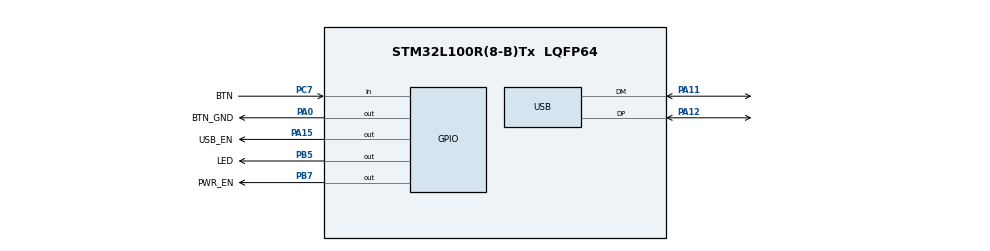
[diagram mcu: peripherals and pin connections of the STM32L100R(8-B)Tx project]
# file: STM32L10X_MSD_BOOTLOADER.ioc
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Mcu.Family=STM32L1
Mcu.Name=STM32L100R(8-B)Tx
Mcu.Package=LQFP64
NVIC.PriorityGroup=NVIC_PRIORITYGROUP_4
NVIC.USB_LP_IRQn=true\:3\:0\:true\:false\:true\:false\:true
PA0-WKUP1.GPIO_Label=BTN_GND
PA0-WKUP1.Signal=GPIO_Output
PA11.Mode=Device
PA11.Signal=USB_DM
PA12.Mode=Device
PA12.Signal=USB_DP
PA13.GPIO_Label=SWDIO
PA13.Mode=Serial_Wire
PA13.Signal=SYS_JTMS-SWDIO
PA14.GPIO_Label=SWCLK
PA14.Mode=Serial_Wire
PA14.Signal=SYS_JTCK-SWCLK
PA15.GPIO_Label=USB_EN
PA15.Signal=GPIO_Output
PB5.GPIO_Label=LED
PB5.Signal=GPIO_Output
PB7.GPIO_Label=PWR_EN
PB7.PinState=GPIO_PIN_SET
PB7.Signal=GPIO_Output
PC7.GPIO_Label=BTN
PC7.GPIO_PuPd=GPIO_PULLUP
PC7.Signal=GPIO_Input
PH0-OSC_IN.Mode=HSE-External-Oscillator
PH0-OSC_IN.Signal=RCC_OSC_IN
PH1-OSC_OUT.Mode=HSE-External-Oscillator
PH1-OSC_OUT.Signal=RCC_OSC_OUT
ProjectManager.HeapSize=0x200
ProjectManager.StackSize=0x400
ProjectManager.TargetToolchain=MDK-ARM V5
RCC.48MHZClocksFreq_Value=48000000
RCC.AHBFreq_Value=16000000
RCC.APB1Freq_Value=16000000
RCC.APB1TimFreq_Value=16000000
RCC.APB2Freq_Value=16000000
RCC.APB2TimFreq_Value=16000000
RCC.HCLKFreq_Value=16000000
RCC.HSE_VALUE=8000000
RCC.HSI_VALUE=16000000
RCC.LSE_VALUE=32768
RCC.MSI_VALUE=2097000
RCC.PLLMUL=RCC_PLL_MUL12
RCC.PREFETCH_ENABLE=1
RCC.SYSCLKFreq_VALUE=16000000
RCC.SYSCLKSource=RCC_SYSCLKSOURCE_HSI
RCC.VCOOutputFreq_Value=96000000
USB_DEVICE.CLASS_NAME_FS=MSC
USB_DEVICE.MSC_MEDIA_PACKET=512
USB_DEVICE.VirtualMode=Msc
USB_DEVICE.VirtualModeFS=Msc_FS
VP_USB_DEVICE_VS_USB_DEVICE_MSC_FS.Mode=MSC_FS
board=custom

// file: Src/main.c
/* USER CODE BEGIN Header */
/**
  ******************************************************************************
  * @file           : main.c
  * @brief          : Main program body
  ******************************************************************************
  * @attention
  *
  * <h2><center>&copy; Copyright (c) 2020 STMicroelectronics.
  * All rights reserved.</center></h2>
  *
  * This software component is licensed by ST under Ultimate Liberty license
  * SLA0044, the "License"; You may not use this file except in compliance with
  * the License. You may obtain a copy of the License at:
  *                             www.st.com/SLA0044
  *
  ******************************************************************************
  */
/* USER CODE END Header */

#include "main.h"
#include "usb_device.h"

/* USER CODE BEGIN Includes */
#include <stdint.h>					//lingex
#include <stdbool.h>
#include "btldr_config.h"
#include "fat32.h"
/* USER CODE END Includes */

/* USER CODE BEGIN PD */
typedef void (*pFunction)(void);
/* USER CODE END PD */

void SystemClock_Config(void);
static void MX_GPIO_Init(void);

/* USER CODE BEGIN 0 */
bool IsAppExist(void);
bool IsKeyPressed(void);

void RunApp(void);
void Delay(uint16_t n);

/* USER CODE END 0 */

int main(void)
{
  /* USER CODE BEGIN 1 */
	//RunApp();	//for debug
	volatile uint32_t timer;
  /* USER CODE END 1 */

  /* MCU Configuration--------------------------------------------------------*/

  /* Reset of all peripherals, Initializes the Flash interface and the Systick. */
  HAL_Init();

  /* USER CODE BEGIN Init */
  while(!fat32_init())
	{
		//flash addr error
	}
  /* USER CODE END Init */

  /* Configure the system clock */
  SystemClock_Config();

  /* USER CODE BEGIN SysInit */
	MX_GPIO_Init();
	if(!IsAppExist() || IsKeyPressed())
  {
		uint8_t keyState = 0;
		uint8_t count = 0;
		//upgrade mode
    MX_USB_DEVICE_Init();
#if 1
    while(1)
    {
			//long press key for 2S to exit upgrade
			//begin of long press check
			if (!IsKeyPressed() && keyState == 0)
			{
				keyState = 1;
			}
			if (IsKeyPressed() && keyState == 1)
			{
				count++;
				if(count == 10)
				{
					//keep LED lighting
					//HAL_GPIO_WritePin(LED_GPIO_Port, LED_Pin, GPIO_PIN_SET);
					LL_GPIO_SetOutputPin(LED_GPIO_Port, LED_Pin);
					//LL_GPIO_SetOutputPin(USB_EN_GPIO_Port, USB_EN_Pin);
					while(IsKeyPressed())
					{
					}
					//HAL_Delay(20);
					Delay(20);
					RunApp();

					//soft reset
					//SCB->VTOR = (FLASH_BASE | 0x0000);
					//NVIC_SystemReset();
				}
			}
			else
			{
				count = 0;
			}
			//end of long press check

			//blinking the LED
			LL_GPIO_TogglePin(LED_GPIO_Port, LED_Pin);
			//HAL_Delay(200);
			Delay(200);
    }
#endif
  }
  else
  {
    RunApp();
  }

  /* USER CODE END SysInit */

  /* Initialize all configured peripherals */
  MX_GPIO_Init();
  MX_USB_DEVICE_Init();

  /* Infinite loop */
  while (1)
  {

  }
}

void SystemClock_Config(void)
{

  LL_FLASH_Enable64bitAccess();

  LL_FLASH_SetLatency(LL_FLASH_LATENCY_0);

  if(LL_FLASH_GetLatency() != LL_FLASH_LATENCY_0)
  {
  Error_Handler();
  }
  LL_PWR_SetRegulVoltageScaling(LL_PWR_REGU_VOLTAGE_SCALE1);
  LL_RCC_HSE_Enable();

   /* Wait till HSE is ready */
  while(LL_RCC_HSE_IsReady() != 1)
  {

  }
  LL_RCC_HSI_Enable();

   /* Wait till HSI is ready */
  while(LL_RCC_HSI_IsReady() != 1)
  {

  }
  LL_RCC_HSI_SetCalibTrimming(16);
  LL_RCC_PLL_ConfigDomain_SYS(LL_RCC_PLLSOURCE_HSE, LL_RCC_PLL_MUL_12, LL_RCC_PLL_DIV_2);
  LL_RCC_PLL_Enable();

   /* Wait till PLL is ready */
  while(LL_RCC_PLL_IsReady() != 1)
  {

  }
  LL_RCC_SetAHBPrescaler(LL_RCC_SYSCLK_DIV_1);
  LL_RCC_SetAPB1Prescaler(LL_RCC_APB1_DIV_1);
  LL_RCC_SetAPB2Prescaler(LL_RCC_APB2_DIV_1);
  LL_RCC_SetSysClkSource(LL_RCC_SYS_CLKSOURCE_HSI);

   /* Wait till System clock is ready */
  while(LL_RCC_GetSysClkSource() != LL_RCC_SYS_CLKSOURCE_STATUS_HSI)
  {

  }
  LL_SetSystemCoreClock(16000000);
}

static void MX_GPIO_Init(void)
{
  LL_GPIO_InitTypeDef GPIO_InitStruct = {0};

  /* GPIO Ports Clock Enable */
  LL_AHB1_GRP1_EnableClock(LL_AHB1_GRP1_PERIPH_GPIOH);
  LL_AHB1_GRP1_EnableClock(LL_AHB1_GRP1_PERIPH_GPIOA);
  LL_AHB1_GRP1_EnableClock(LL_AHB1_GRP1_PERIPH_GPIOC);
  LL_AHB1_GRP1_EnableClock(LL_AHB1_GRP1_PERIPH_GPIOB);

  /**/
  LL_GPIO_ResetOutputPin(GPIOA, BTN_GND_Pin|USB_EN_Pin);

  /**/
  LL_GPIO_ResetOutputPin(LED_GPIO_Port, LED_Pin);

  /**/
  LL_GPIO_SetOutputPin(PWR_EN_GPIO_Port, PWR_EN_Pin);

  /**/
  GPIO_InitStruct.Pin = BTN_GND_Pin;
  GPIO_InitStruct.Mode = LL_GPIO_MODE_OUTPUT;
  GPIO_InitStruct.Speed = LL_GPIO_SPEED_FREQ_LOW;
  GPIO_InitStruct.OutputType = LL_GPIO_OUTPUT_PUSHPULL;
  GPIO_InitStruct.Pull = LL_GPIO_PULL_NO;
  LL_GPIO_Init(BTN_GND_GPIO_Port, &GPIO_InitStruct);

  /**/
  GPIO_InitStruct.Pin = BTN_Pin;
  GPIO_InitStruct.Mode = LL_GPIO_MODE_INPUT;
  GPIO_InitStruct.Pull = LL_GPIO_PULL_UP;
  LL_GPIO_Init(BTN_GPIO_Port, &GPIO_InitStruct);

  /**/
  GPIO_InitStruct.Pin = USB_EN_Pin;
  GPIO_InitStruct.Mode = LL_GPIO_MODE_OUTPUT;
  GPIO_InitStruct.Speed = LL_GPIO_SPEED_FREQ_LOW;
  GPIO_InitStruct.OutputType = LL_GPIO_OUTPUT_PUSHPULL;
  GPIO_InitStruct.Pull = LL_GPIO_PULL_NO;
  LL_GPIO_Init(USB_EN_GPIO_Port, &GPIO_InitStruct);

  /**/
  GPIO_InitStruct.Pin = LED_Pin;
  GPIO_InitStruct.Mode = LL_GPIO_MODE_OUTPUT;
  GPIO_InitStruct.Speed = LL_GPIO_SPEED_FREQ_LOW;
  GPIO_InitStruct.OutputType = LL_GPIO_OUTPUT_PUSHPULL;
  GPIO_InitStruct.Pull = LL_GPIO_PULL_NO;
  LL_GPIO_Init(LED_GPIO_Port, &GPIO_InitStruct);

  /**/
  GPIO_InitStruct.Pin = PWR_EN_Pin;
  GPIO_InitStruct.Mode = LL_GPIO_MODE_OUTPUT;
  GPIO_InitStruct.Speed = LL_GPIO_SPEED_FREQ_LOW;
  GPIO_InitStruct.OutputType = LL_GPIO_OUTPUT_PUSHPULL;
  GPIO_InitStruct.Pull = LL_GPIO_PULL_NO;
  LL_GPIO_Init(PWR_EN_GPIO_Port, &GPIO_InitStruct);

}

/* USER CODE BEGIN 4 */
bool IsAppExist(void)
{
  uint32_t *mem = (uint32_t*)APP_ADDR;

  if ((mem[0] == 0x00000000 || mem[0] == 0xFFFFFFFF)
      &&(mem[1] == 0x00000000 || mem[1] == 0xFFFFFFFF))
  {
    return false;
  }
	return true;
}

void RunApp(void)
{
  /* Function pointer to the address of the user application. */

	uint32_t appStack;
	pFunction appEntry;

	//__disable_irq();		//won't work when this execute
  //HAL_NVIC_ClearPendingIRQ(SysTick_IRQn);

	// get the application stack pointer (1st entry in the app vector table)
	appStack = (uint32_t)*((__IO uint32_t*)APP_ADDR);

	// Get the app entry point (2nd entry in the app vector table
	appEntry = (pFunction)*(__IO uint32_t*)(APP_ADDR + 4);

	//HAL_RCC_DeInit();
	//LL_RCC_DeInit();
	HAL_DeInit();

	SysTick->CTRL = 0;
	SysTick->LOAD = 0;
	SysTick->VAL  = 0;

	// Reconfigure vector table offset to match the app location
	SCB->VTOR = APP_ADDR;
	__set_MSP(appStack); // Set app stack pointer
	appEntry(); // Start the app

	while (1); // never reached
}

void Delay(uint16_t n)
{
	for (uint16_t i = n; i > 0; i--)
	{
		volatile uint16_t j = 2000;
		while(j-- > 0)
		{
		}
	}
}

bool IsKeyPressed(void)
{
  //return (HAL_GPIO_ReadPin(BTN_GPIO_Port, BTN_Pin) == GPIO_PIN_RESET);
	return !LL_GPIO_IsInputPinSet(BTN_GPIO_Port, BTN_Pin);
}
/* USER CODE END 4 */

void Error_Handler(void)
{
}

/************************ (C) COPYRIGHT STMicroelectronics *****END OF FILE****/
